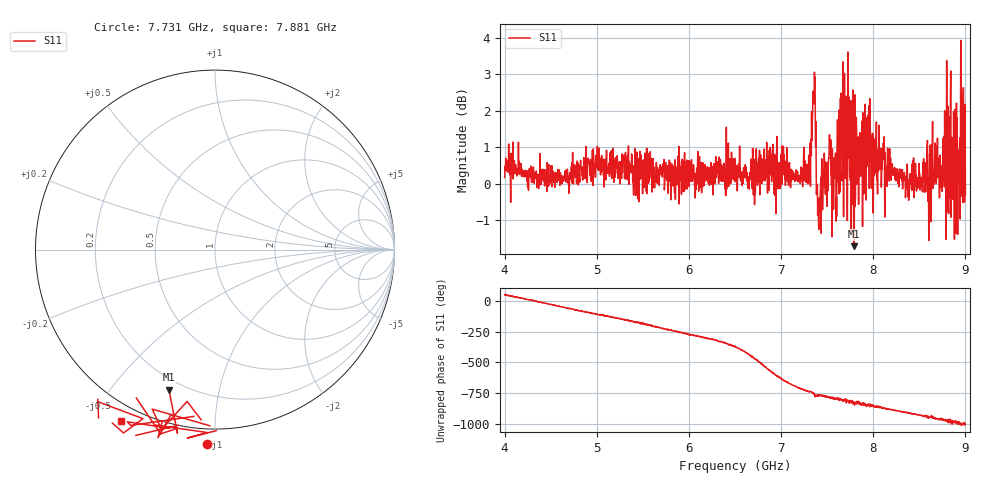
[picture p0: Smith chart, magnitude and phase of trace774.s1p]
! Created with skrf 1.8.0 (http://scikit-rf.org).
# Hz S RI R 50.0
!freq ReS11 ImS11
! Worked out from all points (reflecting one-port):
!   1601 points, 4 GHz to 9 GHz, reference 50 ohm
!   lowest |S11| = -1.7 dB at 7.794 GHz (marker M1), VSWR 10.17, Z = 7.46 - j35.7 ohm
!   phase of S11 starts at 51 deg and turns -1054 deg over the sweep
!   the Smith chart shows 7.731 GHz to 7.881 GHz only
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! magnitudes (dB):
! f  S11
! 4 GHz  0.2
! 4.625 GHz  0.0
! 5.25 GHz  0.0
! 5.875 GHz  0.5
! 6.5 GHz  0.5
! 6.725 GHz  0.3
! 6.891 GHz  0.6
! 7.125 GHz  0.3
! 7.294 GHz  0.3
! 7.353 GHz  2.6
! 7.412 GHz  -0.4
! 7.525 GHz  1.3
! 7.578 GHz  0.7
! 7.669 GHz  0.3
! 7.75 GHz  0.5
! 7.769 GHz  -0.4
! 7.794 GHz  -1.7
! 7.953 GHz  2.1
! 8.022 GHz  0.3
! 8.375 GHz  -0.2
! 8.616 GHz  -0.1
! 8.656 GHz  0.3
! 8.728 GHz  0.6
! 8.784 GHz  1.1
! 8.875 GHz  1.3
! 8.953 GHz  -0.3
! 8.972 GHz  1.0
! 9 GHz  -0.3
